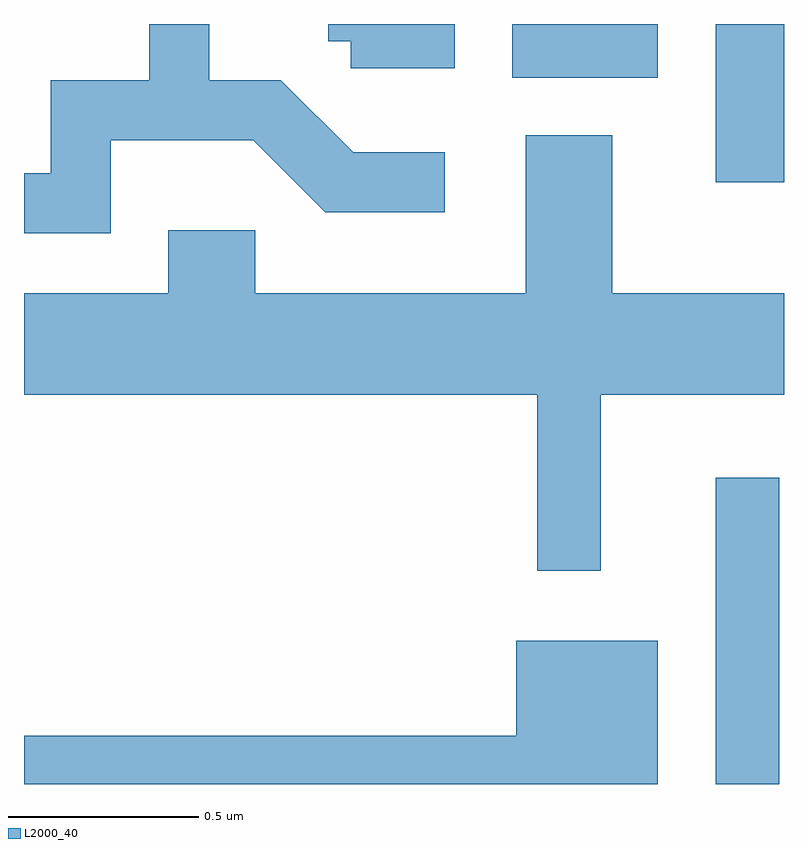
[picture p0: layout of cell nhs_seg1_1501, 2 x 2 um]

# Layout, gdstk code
import gdstk
lib = gdstk.Library(unit=1e-6, precision=1e-09)
def R(c, l, rs):  # rectangles x0, y0, x1, y1
    for r in rs: c.add(gdstk.rectangle(r[:2], r[2:], *l))
def P(c, l, *ps):  # polygons
    for p in ps: c.add(gdstk.Polygon(p, *l))
L2000_40 = (2000, 40)

nhs_seg1_1501 = lib.new_cell('nhs_seg1_1501')
R(nhs_seg1_1501, L2000_40, [(198.431,849.712,198.599,850.518), (198.431,851.296,198.611,851.712), (197.896,851.571,198.279,851.712)])
P(nhs_seg1_1501, L2000_40, [(196.839,851.406),(197.214,851.406),(197.404,851.216),(197.718,851.216),(197.718,851.374),(197.477,851.374),(197.287,851.564),(197.099,851.564),(197.099,851.712),(196.941,851.712),(196.941,851.564),(196.681,851.564),(196.681,851.319),(196.611,851.319),(196.611,851.161),(196.839,851.161)],
  [(197.744,851.712),(197.411,851.712),(197.411,851.666),(197.471,851.666),(197.471,851.596),(197.744,851.596)],
  [(198.129,850.736),(198.611,850.736),(198.611,851.004),(198.159,851.004),(198.159,851.419),(197.931,851.419),(197.931,851.004),(197.219,851.004),(197.219,851.169),(196.991,851.169),(196.991,851.004),(196.611,851.004),(196.611,850.736),(197.961,850.736),(197.961,850.273),(198.129,850.273)],
  [(198.279,850.089),(197.906,850.089),(197.906,849.839),(196.611,849.839),(196.611,849.712),(198.279,849.712)])

lib.write_gds('nhs_seg1_1501.gds')
